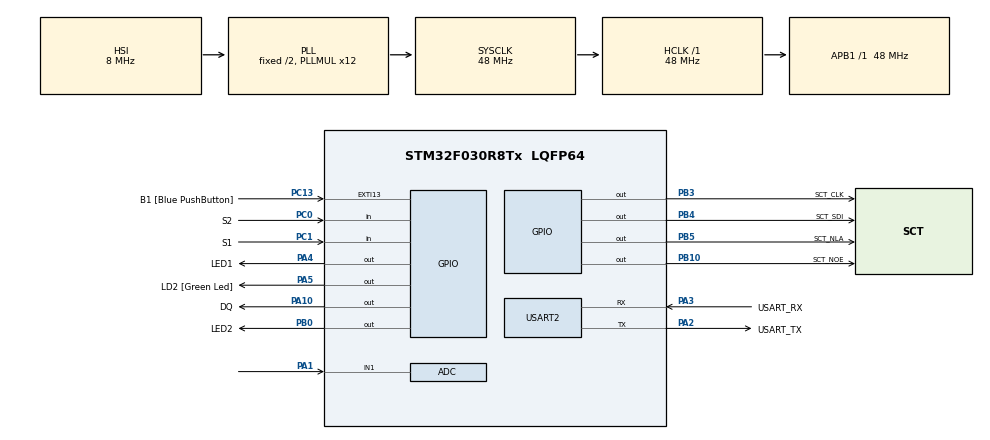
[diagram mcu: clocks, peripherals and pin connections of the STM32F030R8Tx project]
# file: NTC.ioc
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ADC.ContinuousConvMode=ENABLE
ADC.Overrun=ADC_OVR_DATA_OVERWRITTEN
ADC.Resolution=ADC_RESOLUTION_10B
Mcu.Family=STM32F0
Mcu.Name=STM32F030R8Tx
Mcu.Package=LQFP64
PA1.Mode=IN1
PA1.Signal=ADC_IN1
PA10.GPIO_Label=DQ
PA10.GPIO_ModeDefaultOutputPP=GPIO_MODE_OUTPUT_OD
PA10.GPIO_PuPd=GPIO_NOPULL
PA10.PinState=GPIO_PIN_SET
PA10.Signal=GPIO_Output
PA13.GPIO_Label=TMS
PA13.Mode=Serial_Wire
PA13.Signal=SYS_SWDIO
PA14.GPIO_Label=TCK
PA14.Mode=Serial_Wire
PA14.Signal=SYS_SWCLK
PA2.GPIO_Label=USART_TX
PA2.GPIO_Mode=GPIO_MODE_AF_PP
PA2.GPIO_PuPd=GPIO_NOPULL
PA2.GPIO_Speed=GPIO_SPEED_FREQ_LOW
PA2.Mode=Asynchronous
PA2.Signal=USART2_TX
PA3.GPIO_Label=USART_RX
PA3.GPIO_Mode=GPIO_MODE_AF_PP
PA3.GPIO_PuPd=GPIO_NOPULL
PA3.GPIO_Speed=GPIO_SPEED_FREQ_LOW
PA3.Mode=Asynchronous
PA3.Signal=USART2_RX
PA4.GPIO_Label=LED1
PA4.Signal=GPIO_Output
PA5.GPIO_Label=LD2 [Green Led]
PA5.GPIO_Mode=GPIO_MODE_OUTPUT_PP
PA5.GPIO_PuPd=GPIO_NOPULL
PA5.GPIO_Speed=GPIO_SPEED_FREQ_LOW
PA5.Signal=GPIO_Output
PB0.GPIO_Label=LED2
PB0.GPIO_PuPd=GPIO_NOPULL
PB0.Signal=GPIO_Output
PB10.GPIO_Label=SCT_NOE
PB10.Signal=GPIO_Output
PB3.GPIO_Label=SCT_CLK
PB3.Signal=GPIO_Output
PB4.GPIO_Label=SCT_SDI
PB4.Signal=GPIO_Output
PB5.GPIO_Label=SCT_NLA
PB5.Signal=GPIO_Output
PC0.GPIO_Label=S2
PC0.GPIO_PuPd=GPIO_PULLUP
PC0.Signal=GPIO_Input
PC1.GPIO_Label=S1
PC1.GPIO_PuPd=GPIO_PULLUP
PC1.Signal=GPIO_Input
PC13.GPIO_Label=B1 [Blue PushButton]
PC13.GPIO_ModeDefaultEXTI=GPIO_MODE_IT_FALLING
PC13.Signal=GPXTI13
PC14-OSC32_IN.Mode=LSE-External-Oscillator
PC14-OSC32_IN.Signal=RCC_OSC32_IN
PC15-OSC32_OUT.Mode=LSE-External-Oscillator
PC15-OSC32_OUT.Signal=RCC_OSC32_OUT
PF0-OSC_IN.Mode=HSE-External-Clock-Source
PF0-OSC_IN.Signal=RCC_OSC_IN
PF1-OSC_OUT.Signal=RCC_OSC_OUT
ProjectManager.HeapSize=0x200
ProjectManager.StackSize=0x400
ProjectManager.TargetToolchain=STM32CubeIDE
RCC.AHBFreq_Value=48000000
RCC.APB1Freq_Value=48000000
RCC.APB1TimFreq_Value=48000000
RCC.HCLKFreq_Value=48000000
RCC.PLLMUL=RCC_PLL_MUL12
RCC.SYSCLKFreq_VALUE=48000000
RCC.SYSCLKSource=RCC_SYSCLKSOURCE_PLLCLK
USART2.VirtualMode-Asynchronous=VM_ASYNC
board=NUCLEO-F030R8

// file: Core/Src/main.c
/* USER CODE BEGIN Header */
/**
 ******************************************************************************
 * @file           : main.c
 * @brief          : Main program body
 ******************************************************************************
 * @attention
 *
 * Copyright (c) 2024 STMicroelectronics.
 * All rights reserved.
 *
 * This software is licensed under terms that can be found in the LICENSE file
 * in the root directory of this software component.
 * If no LICENSE file comes with this software, it is provided AS-IS.
 *
 ******************************************************************************
 */
/* USER CODE END Header */
#include "main.h"

/* USER CODE BEGIN Includes */
#include "sct.h"
#include "1wire.h"
/* USER CODE END Includes */

/* USER CODE BEGIN PD */
#define CONVERT_T_DELAY 750
/* USER CODE END PD */

ADC_HandleTypeDef hadc;

UART_HandleTypeDef huart2;

void SystemClock_Config(void);
static void MX_GPIO_Init(void);
static void MX_USART2_UART_Init(void);
static void MX_ADC_Init(void);

int main(void) {

	/* MCU Configuration--------------------------------------------------------*/

	/* Reset of all peripherals, Initializes the Flash interface and the Systick. */
	HAL_Init();

	/* Configure the system clock */
	SystemClock_Config();

	/* Initialize all configured peripherals */
	MX_GPIO_Init();
	MX_USART2_UART_Init();
	MX_ADC_Init();
	/* USER CODE BEGIN 2 */
	sct_init();
	OWInit();
	HAL_ADCEx_Calibration_Start(&hadc);
	HAL_ADC_Start(&hadc);
	/* USER CODE END 2 */

	/* Infinite loop */
	/* USER CODE BEGIN WHILE */
	while (1) {
		static int16_t temp18;
		OWConvertAll();
		HAL_Delay(CONVERT_T_DELAY);
		OWReadTemperature(&temp18);

		static const int16_t ntc_lookup[] = {
#include "data.dlm"
				};

		uint16_t ad1 = HAL_ADC_GetValue(&hadc);

		sct_value(ntc_lookup[ad1]);
		HAL_Delay(500);

		static enum {
			S1, S2
		} choise;
		if (HAL_GPIO_ReadPin(S1_GPIO_Port, S1_Pin) == 0) {
			choise = S1;
		}

		if (HAL_GPIO_ReadPin(S2_GPIO_Port, S2_Pin) == 0) {
			choise = S2;
		}

		switch (choise) {
		case S1:
			HAL_GPIO_WritePin(LED1_GPIO_Port, LED1_Pin, 0);
			HAL_GPIO_WritePin(LED2_GPIO_Port, LED2_Pin, 1);
			sct_value(temp18 / 10);
			break;

		case S2:
			sct_value(ntc_lookup[ad1]);
			HAL_GPIO_WritePin(LED1_GPIO_Port, LED1_Pin, 1);
			HAL_GPIO_WritePin(LED2_GPIO_Port, LED2_Pin, 0);
			break;
		}
		HAL_Delay(500);

		/* USER CODE END WHILE */

	}
}

void SystemClock_Config(void) {
	RCC_OscInitTypeDef RCC_OscInitStruct = { 0 };
	RCC_ClkInitTypeDef RCC_ClkInitStruct = { 0 };

	/** Initializes the RCC Oscillators according to the specified parameters
	 * in the RCC_OscInitTypeDef structure.
	 */
	RCC_OscInitStruct.OscillatorType = RCC_OSCILLATORTYPE_HSI
			| RCC_OSCILLATORTYPE_HSI14;
	RCC_OscInitStruct.HSIState = RCC_HSI_ON;
	RCC_OscInitStruct.HSI14State = RCC_HSI14_ON;
	RCC_OscInitStruct.HSICalibrationValue = RCC_HSICALIBRATION_DEFAULT;
	RCC_OscInitStruct.HSI14CalibrationValue = 16;
	RCC_OscInitStruct.PLL.PLLState = RCC_PLL_ON;
	RCC_OscInitStruct.PLL.PLLSource = RCC_PLLSOURCE_HSI;
	RCC_OscInitStruct.PLL.PLLMUL = RCC_PLL_MUL12;
	RCC_OscInitStruct.PLL.PREDIV = RCC_PREDIV_DIV1;
	if (HAL_RCC_OscConfig(&RCC_OscInitStruct) != HAL_OK) {
		Error_Handler();
	}

	/** Initializes the CPU, AHB and APB buses clocks
	 */
	RCC_ClkInitStruct.ClockType = RCC_CLOCKTYPE_HCLK | RCC_CLOCKTYPE_SYSCLK
			| RCC_CLOCKTYPE_PCLK1;
	RCC_ClkInitStruct.SYSCLKSource = RCC_SYSCLKSOURCE_PLLCLK;
	RCC_ClkInitStruct.AHBCLKDivider = RCC_SYSCLK_DIV1;
	RCC_ClkInitStruct.APB1CLKDivider = RCC_HCLK_DIV1;

	if (HAL_RCC_ClockConfig(&RCC_ClkInitStruct, FLASH_LATENCY_1) != HAL_OK) {
		Error_Handler();
	}
}

static void MX_ADC_Init(void) {

	ADC_ChannelConfTypeDef sConfig = { 0 };

	/** Configure the global features of the ADC (Clock, Resolution, Data Alignment and number of conversion)
	 */
	hadc.Instance = ADC1;
	hadc.Init.ClockPrescaler = ADC_CLOCK_ASYNC_DIV1;
	hadc.Init.Resolution = ADC_RESOLUTION_10B;
	hadc.Init.DataAlign = ADC_DATAALIGN_RIGHT;
	hadc.Init.ScanConvMode = ADC_SCAN_DIRECTION_FORWARD;
	hadc.Init.EOCSelection = ADC_EOC_SINGLE_CONV;
	hadc.Init.LowPowerAutoWait = DISABLE;
	hadc.Init.LowPowerAutoPowerOff = DISABLE;
	hadc.Init.ContinuousConvMode = ENABLE;
	hadc.Init.DiscontinuousConvMode = DISABLE;
	hadc.Init.ExternalTrigConv = ADC_SOFTWARE_START;
	hadc.Init.ExternalTrigConvEdge = ADC_EXTERNALTRIGCONVEDGE_NONE;
	hadc.Init.DMAContinuousRequests = DISABLE;
	hadc.Init.Overrun = ADC_OVR_DATA_OVERWRITTEN;
	if (HAL_ADC_Init(&hadc) != HAL_OK) {
		Error_Handler();
	}

	/** Configure for the selected ADC regular channel to be converted.
	 */
	sConfig.Channel = ADC_CHANNEL_1;
	sConfig.Rank = ADC_RANK_CHANNEL_NUMBER;
	sConfig.SamplingTime = ADC_SAMPLETIME_1CYCLE_5;
	if (HAL_ADC_ConfigChannel(&hadc, &sConfig) != HAL_OK) {
		Error_Handler();
	}

}

static void MX_USART2_UART_Init(void) {

	huart2.Instance = USART2;
	huart2.Init.BaudRate = 38400;
	huart2.Init.WordLength = UART_WORDLENGTH_8B;
	huart2.Init.StopBits = UART_STOPBITS_1;
	huart2.Init.Parity = UART_PARITY_NONE;
	huart2.Init.Mode = UART_MODE_TX_RX;
	huart2.Init.HwFlowCtl = UART_HWCONTROL_NONE;
	huart2.Init.OverSampling = UART_OVERSAMPLING_16;
	huart2.Init.OneBitSampling = UART_ONE_BIT_SAMPLE_DISABLE;
	huart2.AdvancedInit.AdvFeatureInit = UART_ADVFEATURE_NO_INIT;
	if (HAL_UART_Init(&huart2) != HAL_OK) {
		Error_Handler();
	}

}

static void MX_GPIO_Init(void) {
	GPIO_InitTypeDef GPIO_InitStruct = { 0 };

	/* GPIO Ports Clock Enable */
	__HAL_RCC_GPIOC_CLK_ENABLE();
	__HAL_RCC_GPIOF_CLK_ENABLE();
	__HAL_RCC_GPIOA_CLK_ENABLE();
	__HAL_RCC_GPIOB_CLK_ENABLE();

	/*Configure GPIO pin Output Level */
	HAL_GPIO_WritePin(GPIOA, LED1_Pin | LD2_Pin, GPIO_PIN_RESET);

	/*Configure GPIO pin Output Level */
	HAL_GPIO_WritePin(GPIOB,
			LED2_Pin | SCT_NOE_Pin | SCT_CLK_Pin | SCT_SDI_Pin | SCT_NLA_Pin,
			GPIO_PIN_RESET);

	/*Configure GPIO pin Output Level */
	HAL_GPIO_WritePin(DQ_GPIO_Port, DQ_Pin, GPIO_PIN_SET);

	/*Configure GPIO pin : B1_Pin */
	GPIO_InitStruct.Pin = B1_Pin;
	GPIO_InitStruct.Mode = GPIO_MODE_IT_FALLING;
	GPIO_InitStruct.Pull = GPIO_NOPULL;
	HAL_GPIO_Init(B1_GPIO_Port, &GPIO_InitStruct);

	/*Configure GPIO pins : S2_Pin S1_Pin */
	GPIO_InitStruct.Pin = S2_Pin | S1_Pin;
	GPIO_InitStruct.Mode = GPIO_MODE_INPUT;
	GPIO_InitStruct.Pull = GPIO_PULLUP;
	HAL_GPIO_Init(GPIOC, &GPIO_InitStruct);

	/*Configure GPIO pins : LED1_Pin LD2_Pin */
	GPIO_InitStruct.Pin = LED1_Pin | LD2_Pin;
	GPIO_InitStruct.Mode = GPIO_MODE_OUTPUT_PP;
	GPIO_InitStruct.Pull = GPIO_NOPULL;
	GPIO_InitStruct.Speed = GPIO_SPEED_FREQ_LOW;
	HAL_GPIO_Init(GPIOA, &GPIO_InitStruct);

	/*Configure GPIO pins : LED2_Pin SCT_NOE_Pin SCT_CLK_Pin SCT_SDI_Pin
	 SCT_NLA_Pin */
	GPIO_InitStruct.Pin = LED2_Pin | SCT_NOE_Pin | SCT_CLK_Pin | SCT_SDI_Pin
			| SCT_NLA_Pin;
	GPIO_InitStruct.Mode = GPIO_MODE_OUTPUT_PP;
	GPIO_InitStruct.Pull = GPIO_NOPULL;
	GPIO_InitStruct.Speed = GPIO_SPEED_FREQ_LOW;
	HAL_GPIO_Init(GPIOB, &GPIO_InitStruct);

	/*Configure GPIO pin : DQ_Pin */
	GPIO_InitStruct.Pin = DQ_Pin;
	GPIO_InitStruct.Mode = GPIO_MODE_OUTPUT_OD;
	GPIO_InitStruct.Pull = GPIO_NOPULL;
	GPIO_InitStruct.Speed = GPIO_SPEED_FREQ_LOW;
	HAL_GPIO_Init(DQ_GPIO_Port, &GPIO_InitStruct);

}

void Error_Handler(void) {
	__disable_irq();
	while (1) {
	}
}
